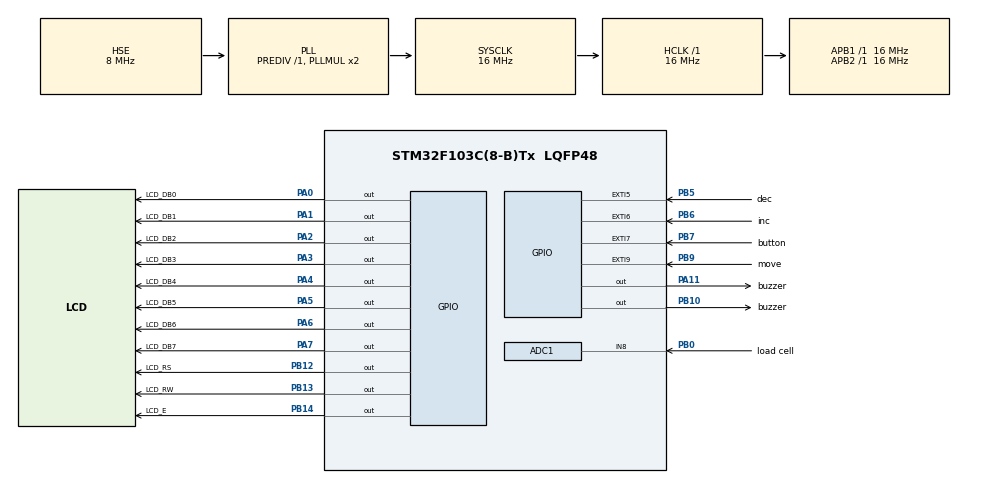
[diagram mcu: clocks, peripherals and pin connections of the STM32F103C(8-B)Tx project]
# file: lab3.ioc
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ADC1.Channel-2\#ChannelRegularConversion=ADC_CHANNEL_8
ADC1.NbrOfConversionFlag=1
ADC1.Rank-2\#ChannelRegularConversion=1
ADC1.SamplingTime-2\#ChannelRegularConversion=ADC_SAMPLETIME_1CYCLE_5
ADC1.master=1
Mcu.Family=STM32F1
Mcu.Name=STM32F103C(8-B)Tx
Mcu.Package=LQFP48
NVIC.ADC1_2_IRQn=true\:0\:0\:false\:false\:true\:true\:true\:true
NVIC.EXTI9_5_IRQn=true\:1\:0\:true\:false\:true\:true\:true\:true
NVIC.PriorityGroup=NVIC_PRIORITYGROUP_4
NVIC.TIM2_IRQn=true\:0\:0\:true\:false\:true\:true\:true\:true
NVIC.TIM3_IRQn=true\:0\:0\:true\:false\:true\:true\:true\:true
PA0-WKUP.GPIO_Label=LCD_DB0
PA0-WKUP.GPIO_Speed=GPIO_SPEED_FREQ_MEDIUM
PA0-WKUP.Signal=GPIO_Output
PA1.GPIO_Label=LCD_DB1
PA1.GPIO_Speed=GPIO_SPEED_FREQ_MEDIUM
PA1.Signal=GPIO_Output
PA11.GPIO_Label=buzzer
PA11.GPIO_PuPd=GPIO_PULLDOWN
PA11.PinState=GPIO_PIN_RESET
PA11.Signal=GPIO_Output
PA13.Mode=Serial_Wire
PA13.Signal=SYS_JTMS-SWDIO
PA14.Mode=Serial_Wire
PA14.Signal=SYS_JTCK-SWCLK
PA2.GPIO_Label=LCD_DB2
PA2.GPIO_Speed=GPIO_SPEED_FREQ_MEDIUM
PA2.Signal=GPIO_Output
PA3.GPIO_Label=LCD_DB3
PA3.GPIO_Speed=GPIO_SPEED_FREQ_MEDIUM
PA3.Signal=GPIO_Output
PA4.GPIO_Label=LCD_DB4
PA4.GPIO_Speed=GPIO_SPEED_FREQ_MEDIUM
PA4.Signal=GPIO_Output
PA5.GPIO_Label=LCD_DB5
PA5.GPIO_Speed=GPIO_SPEED_FREQ_MEDIUM
PA5.Signal=GPIO_Output
PA6.GPIO_Label=LCD_DB6
PA6.GPIO_Speed=GPIO_SPEED_FREQ_MEDIUM
PA6.Signal=GPIO_Output
PA7.GPIO_Label=LCD_DB7
PA7.GPIO_Speed=GPIO_SPEED_FREQ_MEDIUM
PA7.Signal=GPIO_Output
PB0.GPIO_Label=load cell
PB0.Signal=ADCx_IN8
PB10.GPIO_Label=buzzer
PB10.Signal=GPIO_Output
PB12.GPIO_Label=LCD_RS
PB12.GPIO_Speed=GPIO_SPEED_FREQ_MEDIUM
PB12.Signal=GPIO_Output
PB13.GPIO_Label=LCD_RW
PB13.GPIO_Speed=GPIO_SPEED_FREQ_MEDIUM
PB13.Signal=GPIO_Output
PB14.GPIO_Label=LCD_E
PB14.GPIO_Speed=GPIO_SPEED_FREQ_MEDIUM
PB14.Signal=GPIO_Output
PB5.GPIO_Label=dec
PB5.GPIO_ModeDefaultEXTI=GPIO_MODE_IT_FALLING
PB5.GPIO_PuPd=GPIO_PULLDOWN
PB5.Signal=GPXTI5
PB6.GPIO_Label=inc
PB6.GPIO_ModeDefaultEXTI=GPIO_MODE_IT_FALLING
PB6.GPIO_PuPd=GPIO_PULLDOWN
PB6.Signal=GPXTI6
PB7.GPIO_Label=button
PB7.GPIO_ModeDefaultEXTI=GPIO_MODE_IT_FALLING
PB7.GPIO_PuPd=GPIO_PULLDOWN
PB7.Signal=GPXTI7
PB9.GPIO_Label=move
PB9.GPIO_ModeDefaultEXTI=GPIO_MODE_IT_FALLING
PB9.GPIO_PuPd=GPIO_PULLDOWN
PB9.Signal=GPXTI9
PC14-OSC32_IN.Mode=LSE-External-Oscillator
PC14-OSC32_IN.Signal=RCC_OSC32_IN
PC15-OSC32_OUT.Mode=LSE-External-Oscillator
PC15-OSC32_OUT.Signal=RCC_OSC32_OUT
PD0-OSC_IN.Mode=HSE-External-Oscillator
PD0-OSC_IN.Signal=RCC_OSC_IN
PD1-OSC_OUT.Mode=HSE-External-Oscillator
PD1-OSC_OUT.Signal=RCC_OSC_OUT
ProjectManager.HeapSize=0x200
ProjectManager.StackSize=0x400
ProjectManager.TargetToolchain=STM32CubeIDE
RCC.AHBFreq_Value=16000000
RCC.APB1Freq_Value=16000000
RCC.APB1TimFreq_Value=16000000
RCC.APB2Freq_Value=16000000
RCC.APB2TimFreq_Value=16000000
RCC.HCLKFreq_Value=16000000
RCC.PLLSourceVirtual=RCC_PLLSOURCE_HSE
RCC.SYSCLKFreq_VALUE=16000000
RCC.SYSCLKSource=RCC_SYSCLKSOURCE_PLLCLK
RCC.USBFreq_Value=16000000
SH.ADCx_IN8.0=ADC1_IN8,IN8
TIM2.AutoReloadPreload=TIM_AUTORELOAD_PRELOAD_DISABLE
TIM2.Period=3999
TIM2.Prescaler=3999
TIM3.Period=1000
TIM3.Prescaler=1000
VP_TIM2_VS_ClockSourceINT.Mode=Internal
VP_TIM3_VS_ClockSourceINT.Mode=Internal
board=custom

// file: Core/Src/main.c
/* USER CODE BEGIN Header */
/**
  ******************************************************************************
  * @file           : main.c
  * @brief          : Main program body
  ******************************************************************************
  * @attention
  *
  * Copyright (c) 2024 STMicroelectronics.
  * All rights reserved.
	  *
  * This software is licensed under terms that can be found in the LICENSE file
  * in the root directory of this software component.
  * If no LICENSE file comes with this software, it is provided AS-IS.
  *
  ******************************************************************************
  */
/* USER CODE END Header */
#include "main.h"
#include "adc.h"
#include "tim.h"
#include "gpio.h"

/* USER CODE BEGIN Includes */
#include "LCD.h"
/* USER CODE END Includes */

void SystemClock_Config(void);

/* USER CODE BEGIN 0 */

int h = 0; // timer hours
int m = 0; // timer minutes
int s = 15; // timer seconds

// time value for paused time
int ph = 0;
int pm = 0;
int ps = 0;

int paused_buffer = 0;

char string_val [50];

char string_lc [5];

char mode;// t = timer, p = pause, s = set

int buzz = 0; // tells the buzzer to buzz

char mode_set = 's';

int button_val = 0;

void make_00(int num, char* str){

}

uint32_t ADC_OBTAIN_VAL(char* str){
	HAL_ADC_Start(&hadc1);
	HAL_ADC_PollForConversion(&hadc1, 1000);
	uint32_t val = HAL_ADC_GetValue(&hadc1);
	// uint32_t voltage = ((val)/4096.0)*3.3;
	// int frac = (int)((voltage - (int)voltage)*100);

	sprintf(str,"%4d",(int)val);
	        //HAL_Delay(500);
	HAL_ADC_Stop(&hadc1);
	return val;
}

void inc_time(int* _h, int* _m, int* _s, char* str){
	*(_s) = *(_s)+1;
		if(*_s == 60){
			*_s = 0;
			*(_m) = *(_m)+1;
			if(*_m == 60){
				*_m = 0;
				*(_h)= *(_h)+1;
			}
		}

	int buffer = sprintf(str, "%2d : %2d : %2d", *_h, *_m,*_s);

}

void inc_pause_time(char* str){
		inc_time(&ph, &pm, &ps, str);
}

void dec_timer_time(char* str){
	if(s > 0 || m  > 0|| h > 0){
		s--;
			if(s == -1){
				m--;
				s = 59;
				if(m == -1){
					h--;
					m = 59;
				}
			}
	}
	int buffer = sprintf(str, "%2d : %2d : %2d", h, m, s);
}

void set_menu(char* str){
	switch(mode_set){
		case 's':
			s = button_val;
			break;
		case 'm':
			m = button_val;
			break;
		case 'h':
			h = button_val;
			break;
	}
	int buffer = sprintf(str, "%2d : %2d : %2d", h, m, s);
}

void set_move(char* str){
	button_val = 0;
	if(mode_set == 's'){
		mode_set = 'm';
	} else if(mode_set == 'm'){
		mode_set = 'h';
	} else if(mode_set == 'h'){
		mode_set = 's';
	}
	set_menu(string_val);
	//HAL_Delay(5);
}

void set_time(int _h, int _m, int _s, char* str){
	h = _h;
	m = _m;
	s = _s;
	int buffer = sprintf(str, "%2d : %2d : %2d", h, m, s);
}

void perform_action(char* str){
	switch (mode){
		case 'p':
			inc_pause_time(str);
			paused_buffer++;
//			if(paused_buffer >= 5){
//				// HAL_GPIO_WritePin(GPIOA, GPIO_PIN_11, GPIO_PIN_SET);
//				buzz = 1;
//			}
			break;
		case 's':
			//set_time(0, 0, 0, str);
			//set_menu(str);
			break;
		case 't':
			paused_buffer = 0;
			dec_timer_time(str);
			break;
	}
	if(paused_buffer > 5){
		buzz = 1;
	} else {
		buzz = 0;
	}
}

void HAL_GPIO_EXTI_Callback(uint16_t GPIO_Pin)
{
	if(GPIO_Pin == button_Pin){
		if(mode == 's'){ //logic could be improved here but wtv
			mode = 't';
			// HAL_Delay(5);
		} else if (mode == 't'){
			set_time(50, 50, 50, string_val);
			mode = 's';
			// HAL_Delay(5);
		}

	} else if(GPIO_Pin == inc_Pin){
		if(mode == 's'){
			button_val = (button_val+1) % 60;
			set_menu(string_val);
		}

	} else if(GPIO_Pin == dec_Pin){
		if(mode == 's'){
			button_val = (button_val+59)%60;
			set_menu(string_val);
		}
	} else if(GPIO_Pin == move_Pin){
		if(mode == 's'){
			set_move(string_val);
		}
	}
}

void Display(){
	// LCD_Clear();
	LCD_Display_String((uchar)0, (uchar)0, (uchar*)string_val);
	LCD_Display_Char((uchar)mode , (uchar)0, (uchar)1);
	LCD_Display_String((uchar)2, (uchar)1, (uchar*)string_lc);
}

// timer interrupt handler function
void HAL_TIM_PeriodElapsedCallback(TIM_HandleTypeDef *htim){
	if(htim == &htim2){
		perform_action(string_val);
	}
	if(htim == &htim3){
		uint32_t val = ADC_OBTAIN_VAL(string_lc);
		if(val > 200){
			mode = 'p';
			// HAL_Delay(50);
		} else if(mode != 's') {
			mode = 't';
		}
	}
	if(buzz){
		HAL_GPIO_WritePin(GPIOA, GPIO_PIN_11, GPIO_PIN_SET);
	} else {
		HAL_GPIO_WritePin(GPIOA, GPIO_PIN_11, GPIO_PIN_RESET);
	}
}

/* USER CODE END 0 */

int main(void)
{

  /* USER CODE BEGIN 1 */
	int buffer = sprintf(string_val, "%d : %d : %d", h, m, s);
	mode = 't';

  /* USER CODE END 1 */

  /* MCU Configuration--------------------------------------------------------*/

  /* Reset of all peripherals, Initializes the Flash interface and the Systick. */
  HAL_Init();

  /* Configure the system clock */
  SystemClock_Config();

  /* Initialize all configured peripherals */
  MX_GPIO_Init();
  MX_ADC1_Init();
  MX_TIM2_Init();
  MX_TIM3_Init();
  /* USER CODE BEGIN 2 */

  LCD_init();
  LCD_Clear();
  HAL_TIM_Base_Start_IT(&htim2);
  HAL_TIM_Base_Start_IT(&htim3);
  // LCD_Write_Data(64);

  /* USER CODE END 2 */

  /* Infinite loop */
  while (1)
  {

    /* USER CODE BEGIN 3 */
	  Display();
	  HAL_Delay(300);
  }
  /* USER CODE END 3 */
}

void SystemClock_Config(void)
{
  RCC_OscInitTypeDef RCC_OscInitStruct = {0};
  RCC_ClkInitTypeDef RCC_ClkInitStruct = {0};
  RCC_PeriphCLKInitTypeDef PeriphClkInit = {0};

  /** Initializes the RCC Oscillators according to the specified parameters
  * in the RCC_OscInitTypeDef structure.
  */
  RCC_OscInitStruct.OscillatorType = RCC_OSCILLATORTYPE_HSE;
  RCC_OscInitStruct.HSEState = RCC_HSE_ON;
  RCC_OscInitStruct.HSEPredivValue = RCC_HSE_PREDIV_DIV1;
  RCC_OscInitStruct.HSIState = RCC_HSI_ON;
  RCC_OscInitStruct.PLL.PLLState = RCC_PLL_ON;
  RCC_OscInitStruct.PLL.PLLSource = RCC_PLLSOURCE_HSE;
  RCC_OscInitStruct.PLL.PLLMUL = RCC_PLL_MUL2;
  if (HAL_RCC_OscConfig(&RCC_OscInitStruct) != HAL_OK)
  {
    Error_Handler();
  }

  /** Initializes the CPU, AHB and APB buses clocks
  */
  RCC_ClkInitStruct.ClockType = RCC_CLOCKTYPE_HCLK|RCC_CLOCKTYPE_SYSCLK
                              |RCC_CLOCKTYPE_PCLK1|RCC_CLOCKTYPE_PCLK2;
  RCC_ClkInitStruct.SYSCLKSource = RCC_SYSCLKSOURCE_PLLCLK;
  RCC_ClkInitStruct.AHBCLKDivider = RCC_SYSCLK_DIV1;
  RCC_ClkInitStruct.APB1CLKDivider = RCC_HCLK_DIV1;
  RCC_ClkInitStruct.APB2CLKDivider = RCC_HCLK_DIV1;

  if (HAL_RCC_ClockConfig(&RCC_ClkInitStruct, FLASH_LATENCY_0) != HAL_OK)
  {
    Error_Handler();
  }
  PeriphClkInit.PeriphClockSelection = RCC_PERIPHCLK_ADC;
  PeriphClkInit.AdcClockSelection = RCC_ADCPCLK2_DIV2;
  if (HAL_RCCEx_PeriphCLKConfig(&PeriphClkInit) != HAL_OK)
  {
    Error_Handler();
  }
}

void Error_Handler(void)
{
  __disable_irq();
  while (1)
  {
  }
}
